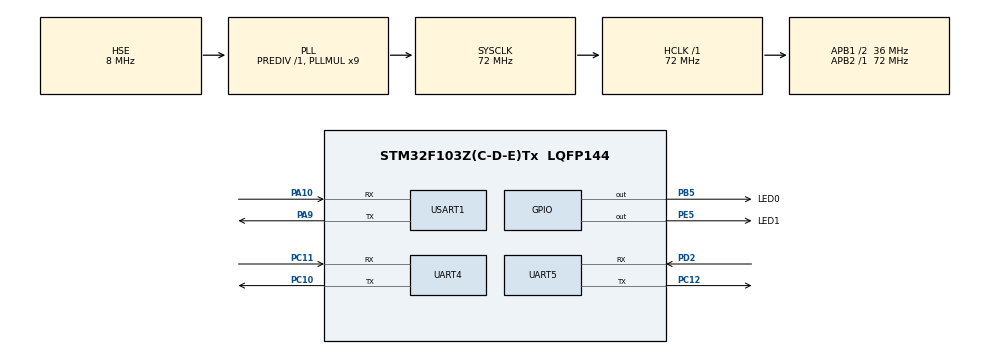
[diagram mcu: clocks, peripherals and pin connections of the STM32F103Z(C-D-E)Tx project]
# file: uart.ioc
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Mcu.Family=STM32F1
Mcu.Name=STM32F103Z(C-D-E)Tx
Mcu.Package=LQFP144
NVIC.PriorityGroup=NVIC_PRIORITYGROUP_4
NVIC.UART4_IRQn=true\:0\:0\:true\:false\:true\:true\:true\:true
NVIC.UART5_IRQn=true\:0\:0\:true\:false\:true\:true\:true\:true
NVIC.USART1_IRQn=true\:0\:0\:false\:false\:true\:true\:true\:true
OSC_IN.Mode=HSE-External-Oscillator
OSC_IN.Signal=RCC_OSC_IN
OSC_OUT.Mode=HSE-External-Oscillator
OSC_OUT.Signal=RCC_OSC_OUT
PA10.Mode=Asynchronous
PA10.Signal=USART1_RX
PA13.Mode=Serial_Wire
PA13.Signal=SYS_JTMS-SWDIO
PA14.Mode=Serial_Wire
PA14.Signal=SYS_JTCK-SWCLK
PA2.Signal=USART2_TX
PA3.Signal=USART2_RX
PA9.Mode=Asynchronous
PA9.Signal=USART1_TX
PB5.GPIO_Label=LED0
PB5.PinState=GPIO_PIN_SET
PB5.Signal=GPIO_Output
PC10.Mode=Asynchronous
PC10.Signal=UART4_TX
PC11.Mode=Asynchronous
PC11.Signal=UART4_RX
PC12.Mode=Asynchronous
PC12.Signal=UART5_TX
PD2.Mode=Asynchronous
PD2.Signal=UART5_RX
PE5.GPIO_Label=LED1
PE5.PinState=GPIO_PIN_SET
PE5.Signal=GPIO_Output
ProjectManager.HeapSize=0x200
ProjectManager.StackSize=0x400
ProjectManager.TargetToolchain=MDK-ARM V5.32
RCC.AHBFreq_Value=72000000
RCC.APB1CLKDivider=RCC_HCLK_DIV2
RCC.APB1Freq_Value=36000000
RCC.APB1TimFreq_Value=72000000
RCC.APB2Freq_Value=72000000
RCC.APB2TimFreq_Value=72000000
RCC.HCLKFreq_Value=72000000
RCC.PLLMUL=RCC_PLL_MUL9
RCC.PLLSourceVirtual=RCC_PLLSOURCE_HSE
RCC.SYSCLKFreq_VALUE=72000000
RCC.SYSCLKSource=RCC_SYSCLKSOURCE_PLLCLK
RCC.USBFreq_Value=72000000
UART4.VirtualMode=Asynchronous
UART5.VirtualMode=Asynchronous
USART1.VirtualMode=VM_ASYNC
board=custom

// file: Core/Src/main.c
/* USER CODE BEGIN Header */
/**
  ******************************************************************************
  * @file           : main.c
  * @brief          : Main program body
  ******************************************************************************
  * @attention
  *
  * Copyright (c) 2022 STMicroelectronics.
  * All rights reserved.
  *
  * This software is licensed under terms that can be found in the LICENSE file
  * in the root directory of this software component.
  * If no LICENSE file comes with this software, it is provided AS-IS.
  *
  ******************************************************************************
  */
/* USER CODE END Header */
#include "main.h"
#include "usart.h"
#include "gpio.h"

/* USER CODE BEGIN Includes */
#include"K210.h"
/* USER CODE END Includes */

/* USER CODE BEGIN PV */
uint8_t usart1_rxbuff;
uint8_t uart5_rxbuff[5];
uint8_t uart4_rxbuff[5];
//#define LENGTH 11
//uint8_t RxBuffer1[LENGTH];
//uint8_t RxCounter1 = 0;
//uint8_t	RxFlag1 = 0;
/* USER CODE END PV */

void SystemClock_Config(void);

int main(void)
{
  /* USER CODE BEGIN 1 */
	//uint16_t posX,posY;
  /* USER CODE END 1 */

  /* MCU Configuration--------------------------------------------------------*/

  /* Reset of all peripherals, Initializes the Flash interface and the Systick. */
  HAL_Init();

  /* Configure the system clock */
  SystemClock_Config();

  /* Initialize all configured peripherals */
  MX_GPIO_Init();
  MX_UART4_Init();
  MX_USART1_UART_Init();
  MX_UART5_Init();
  /* USER CODE BEGIN 2 */
	HAL_UART_Receive_IT(&huart4,(void *)&uart4_rxbuff[0],5);
	HAL_UART_Receive_IT(&huart1,(void *)&usart1_rxbuff,1);
	HAL_UART_Receive_IT(&huart5,(void *)&uart5_rxbuff[0],5);
  /* USER CODE END 2 */

  /* Infinite loop */
  while (1)
  {

}
}
void SystemClock_Config(void)
{
  RCC_OscInitTypeDef RCC_OscInitStruct = {0};
  RCC_ClkInitTypeDef RCC_ClkInitStruct = {0};

  /** Initializes the RCC Oscillators according to the specified parameters
  * in the RCC_OscInitTypeDef structure.
  */
  RCC_OscInitStruct.OscillatorType = RCC_OSCILLATORTYPE_HSE;
  RCC_OscInitStruct.HSEState = RCC_HSE_ON;
  RCC_OscInitStruct.HSEPredivValue = RCC_HSE_PREDIV_DIV1;
  RCC_OscInitStruct.HSIState = RCC_HSI_ON;
  RCC_OscInitStruct.PLL.PLLState = RCC_PLL_ON;
  RCC_OscInitStruct.PLL.PLLSource = RCC_PLLSOURCE_HSE;
  RCC_OscInitStruct.PLL.PLLMUL = RCC_PLL_MUL9;
  if (HAL_RCC_OscConfig(&RCC_OscInitStruct) != HAL_OK)
  {
    Error_Handler();
  }

  /** Initializes the CPU, AHB and APB buses clocks
  */
  RCC_ClkInitStruct.ClockType = RCC_CLOCKTYPE_HCLK|RCC_CLOCKTYPE_SYSCLK
                              |RCC_CLOCKTYPE_PCLK1|RCC_CLOCKTYPE_PCLK2;
  RCC_ClkInitStruct.SYSCLKSource = RCC_SYSCLKSOURCE_PLLCLK;
  RCC_ClkInitStruct.AHBCLKDivider = RCC_SYSCLK_DIV1;
  RCC_ClkInitStruct.APB1CLKDivider = RCC_HCLK_DIV2;
  RCC_ClkInitStruct.APB2CLKDivider = RCC_HCLK_DIV1;

  if (HAL_RCC_ClockConfig(&RCC_ClkInitStruct, FLASH_LATENCY_2) != HAL_OK)
  {
    Error_Handler();
  }
}

/* USER CODE BEGIN 4 */

void HAL_UART_RxCpltCallback(UART_HandleTypeDef *huart)
{
  if(huart->Instance==UART4)
  {
		uint8_t tem1[5];
		for(int i=0;i<5;i++)
		{
			tem1[i]=uart4_rxbuff[i];
			printf("%d,%d\r\n",i,tem1[i]);
		}
    //tem1[8]=uart4_rxbuff;
			K210_Color_Data(tem1);
  }
	if(huart->Instance==UART5)
	{
		uint8_t tem2[5];
		for(int i=0;i<5;i++)
		{
			tem2[i]=uart5_rxbuff[i];
			printf("%d,%d\r\n",i,tem2[i]);
				//printf("1\r\n");
		}
		//tem2[4]=uart5_rxbuff;
			K210_Qrcode_Data(tem2);
	}
}

/* USER CODE END 4 */

void Error_Handler(void)
{
  __disable_irq();
  while (1)
  {
  }
}
